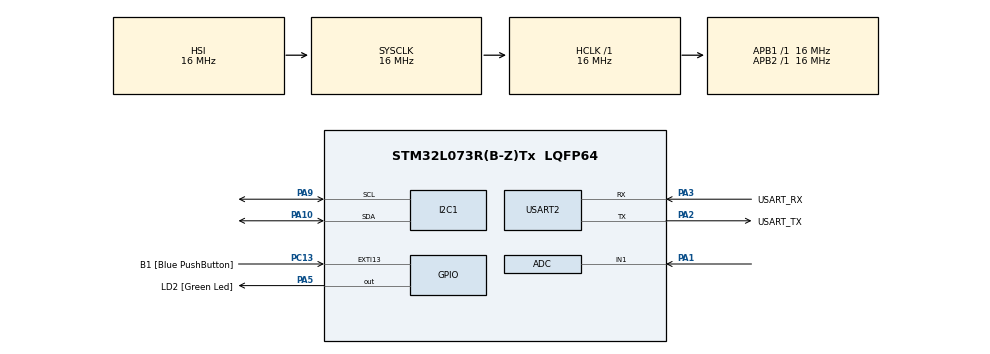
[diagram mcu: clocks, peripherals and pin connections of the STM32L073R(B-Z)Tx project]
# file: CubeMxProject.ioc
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I2C1.Timing=0x00303D5B
Mcu.Family=STM32L0
Mcu.Name=STM32L073R(B-Z)Tx
Mcu.Package=LQFP64
PA1.Mode=IN1
PA1.Signal=ADC_IN1
PA10.Mode=I2C
PA10.Signal=I2C1_SDA
PA13.GPIO_Label=TMS
PA13.Mode=Serial_Wire
PA13.Signal=SYS_SWDIO
PA14.GPIO_Label=TCK
PA14.Mode=Serial_Wire
PA14.Signal=SYS_SWCLK
PA2.GPIO_Label=USART_TX
PA2.Mode=Asynchronous
PA2.Signal=USART2_TX
PA3.GPIO_Label=USART_RX
PA3.Mode=Asynchronous
PA3.Signal=USART2_RX
PA5.GPIO_Label=LD2 [Green Led]
PA5.Signal=GPIO_Output
PA9.Mode=I2C
PA9.Signal=I2C1_SCL
PC13.GPIO_Label=B1 [Blue PushButton]
PC13.GPIO_ModeDefaultEXTI=GPIO_MODE_IT_FALLING
PC13.Signal=GPXTI13
PC14-OSC32_IN.Mode=LSE-External-Oscillator
PC14-OSC32_IN.Signal=RCC_OSC32_IN
PC15-OSC32_OUT.Mode=LSE-External-Oscillator
PC15-OSC32_OUT.Signal=RCC_OSC32_OUT
PH0-OSC_IN.GPIO_Label=MCO
PH0-OSC_IN.Mode=HSE-External-Clock-Source
PH0-OSC_IN.Signal=RCC_OSC_IN
ProjectManager.HeapSize=0x200
ProjectManager.StackSize=0x400
ProjectManager.TargetToolchain=SW4STM32
RCC.AHBFreq_Value=16000000
RCC.APB1Freq_Value=16000000
RCC.APB1TimFreq_Value=16000000
RCC.APB2Freq_Value=16000000
RCC.APB2TimFreq_Value=16000000
RCC.HCLKFreq_Value=16000000
RCC.HSE_VALUE=8000000
RCC.HSI16_VALUE=16000000
RCC.HSI48_VALUE=48000000
RCC.HSI_VALUE=16000000
RCC.MSI_VALUE=2097000
RCC.SYSCLKFreq_VALUE=16000000
RCC.SYSCLKSource=RCC_SYSCLKSOURCE_HSI
RCC.VCOOutputFreq_Value=48000000
USART2.VirtualMode-Asynchronous=VM_ASYNC
board=NUCLEO-L073RZ

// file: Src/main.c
/* USER CODE BEGIN Header */
/**
  ******************************************************************************
  * @file           : main.c
  * @brief          : Main program body
  ******************************************************************************
  * @attention
  *
  * <h2><center>&copy; Copyright (c) 2019 STMicroelectronics.
  * All rights reserved.</center></h2>
  *
  * This software component is licensed by ST under BSD 3-Clause license,
  * the "License"; You may not use this file except in compliance with the
  * License. You may obtain a copy of the License at:
  *                        opensource.org/licenses/BSD-3-Clause
  *
  ******************************************************************************
  */
/* USER CODE END Header */

#include "main.h"

/* USER CODE BEGIN Includes */
#include "u8g/u8g.h"
#include "OLED.h"
#include "Application.h"
/* USER CODE END Includes */

/* USER CODE BEGIN PTD */
extern u8g_t oled_display;
/* USER CODE END PTD */

ADC_HandleTypeDef hadc;

I2C_HandleTypeDef hi2c1;

UART_HandleTypeDef huart2;

void SystemClock_Config(void);
static void MX_GPIO_Init(void);
static void MX_USART2_UART_Init(void);
static void MX_ADC_Init(void);
static void MX_I2C1_Init(void);

int main(void)
{

  /* MCU Configuration--------------------------------------------------------*/

  /* Reset of all peripherals, Initializes the Flash interface and the Systick. */
  HAL_Init();

  /* Configure the system clock */
  SystemClock_Config();

  /* Initialize all configured peripherals */
  MX_GPIO_Init();
  MX_USART2_UART_Init();
  MX_ADC_Init();
  MX_I2C1_Init();
  /* USER CODE BEGIN 2 */
  data_struct data;

  welcome_message();
  HAL_Delay(4000);
  OLED_clrscreen();
  HAL_Delay(2000);
  OLED_Connectmsg();
  HAL_Delay(2000);
  OLED_clrscreen();
  HAL_Delay(2000);

  Calculate_voltage();

  data.volts = 125;
  data.time_left = 135;

  /* USER CODE END 2 */

  /* Infinite loop */
  while (1)
  {
	    while (1)
	    {
	        OLED_printtime(data);
	        data.volts -= 1;
	        data.time_left -= 10;
	        _delay_ms(3000);
	    }

	    while(1)
	    {
	        if( connected() ){
	            OLED_printtime(data);
	        } else {
	            OLED_Connectmsg();
	        }
	        _delay_ms(100);
	    }

  }
}

void SystemClock_Config(void)
{
  RCC_OscInitTypeDef RCC_OscInitStruct = {0};
  RCC_ClkInitTypeDef RCC_ClkInitStruct = {0};
  RCC_PeriphCLKInitTypeDef PeriphClkInit = {0};

  /** Configure the main internal regulator output voltage
  */
  __HAL_PWR_VOLTAGESCALING_CONFIG(PWR_REGULATOR_VOLTAGE_SCALE1);
  /** Initializes the CPU, AHB and APB busses clocks
  */
  RCC_OscInitStruct.OscillatorType = RCC_OSCILLATORTYPE_HSI;
  RCC_OscInitStruct.HSIState = RCC_HSI_ON;
  RCC_OscInitStruct.HSICalibrationValue = RCC_HSICALIBRATION_DEFAULT;
  RCC_OscInitStruct.PLL.PLLState = RCC_PLL_NONE;
  if (HAL_RCC_OscConfig(&RCC_OscInitStruct) != HAL_OK)
  {
    Error_Handler();
  }
  /** Initializes the CPU, AHB and APB busses clocks
  */
  RCC_ClkInitStruct.ClockType = RCC_CLOCKTYPE_HCLK|RCC_CLOCKTYPE_SYSCLK
                              |RCC_CLOCKTYPE_PCLK1|RCC_CLOCKTYPE_PCLK2;
  RCC_ClkInitStruct.SYSCLKSource = RCC_SYSCLKSOURCE_HSI;
  RCC_ClkInitStruct.AHBCLKDivider = RCC_SYSCLK_DIV1;
  RCC_ClkInitStruct.APB1CLKDivider = RCC_HCLK_DIV1;
  RCC_ClkInitStruct.APB2CLKDivider = RCC_HCLK_DIV1;

  if (HAL_RCC_ClockConfig(&RCC_ClkInitStruct, FLASH_LATENCY_0) != HAL_OK)
  {
    Error_Handler();
  }
  PeriphClkInit.PeriphClockSelection = RCC_PERIPHCLK_USART2|RCC_PERIPHCLK_I2C1;
  PeriphClkInit.Usart2ClockSelection = RCC_USART2CLKSOURCE_PCLK1;
  PeriphClkInit.I2c1ClockSelection = RCC_I2C1CLKSOURCE_PCLK1;
  if (HAL_RCCEx_PeriphCLKConfig(&PeriphClkInit) != HAL_OK)
  {
    Error_Handler();
  }
}

static void MX_ADC_Init(void)
{

  ADC_ChannelConfTypeDef sConfig = {0};

  /** Configure the global features of the ADC (Clock, Resolution, Data Alignment and number of conversion)
  */
  hadc.Instance = ADC1;
  hadc.Init.OversamplingMode = DISABLE;
  hadc.Init.ClockPrescaler = ADC_CLOCK_SYNC_PCLK_DIV1;
  hadc.Init.Resolution = ADC_RESOLUTION_12B;
  hadc.Init.SamplingTime = ADC_SAMPLETIME_1CYCLE_5;
  hadc.Init.ScanConvMode = ADC_SCAN_DIRECTION_FORWARD;
  hadc.Init.DataAlign = ADC_DATAALIGN_RIGHT;
  hadc.Init.ContinuousConvMode = DISABLE;
  hadc.Init.DiscontinuousConvMode = DISABLE;
  hadc.Init.ExternalTrigConvEdge = ADC_EXTERNALTRIGCONVEDGE_NONE;
  hadc.Init.ExternalTrigConv = ADC_SOFTWARE_START;
  hadc.Init.DMAContinuousRequests = DISABLE;
  hadc.Init.EOCSelection = ADC_EOC_SINGLE_CONV;
  hadc.Init.Overrun = ADC_OVR_DATA_PRESERVED;
  hadc.Init.LowPowerAutoWait = DISABLE;
  hadc.Init.LowPowerFrequencyMode = DISABLE;
  hadc.Init.LowPowerAutoPowerOff = DISABLE;
  if (HAL_ADC_Init(&hadc) != HAL_OK)
  {
    Error_Handler();
  }
  /** Configure for the selected ADC regular channel to be converted.
  */
  sConfig.Channel = ADC_CHANNEL_1;
  sConfig.Rank = ADC_RANK_CHANNEL_NUMBER;
  if (HAL_ADC_ConfigChannel(&hadc, &sConfig) != HAL_OK)
  {
    Error_Handler();
  }

}

static void MX_I2C1_Init(void)
{

  hi2c1.Instance = I2C1;
  hi2c1.Init.Timing = 0x00303D5B;
  hi2c1.Init.OwnAddress1 = 0;
  hi2c1.Init.AddressingMode = I2C_ADDRESSINGMODE_7BIT;
  hi2c1.Init.DualAddressMode = I2C_DUALADDRESS_DISABLE;
  hi2c1.Init.OwnAddress2 = 0;
  hi2c1.Init.OwnAddress2Masks = I2C_OA2_NOMASK;
  hi2c1.Init.GeneralCallMode = I2C_GENERALCALL_DISABLE;
  hi2c1.Init.NoStretchMode = I2C_NOSTRETCH_DISABLE;
  if (HAL_I2C_Init(&hi2c1) != HAL_OK)
  {
    Error_Handler();
  }
  /** Configure Analogue filter
  */
  if (HAL_I2CEx_ConfigAnalogFilter(&hi2c1, I2C_ANALOGFILTER_ENABLE) != HAL_OK)
  {
    Error_Handler();
  }
  /** Configure Digital filter
  */
  if (HAL_I2CEx_ConfigDigitalFilter(&hi2c1, 0) != HAL_OK)
  {
    Error_Handler();
  }

}

static void MX_USART2_UART_Init(void)
{

  huart2.Instance = USART2;
  huart2.Init.BaudRate = 115200;
  huart2.Init.WordLength = UART_WORDLENGTH_8B;
  huart2.Init.StopBits = UART_STOPBITS_1;
  huart2.Init.Parity = UART_PARITY_NONE;
  huart2.Init.Mode = UART_MODE_TX_RX;
  huart2.Init.HwFlowCtl = UART_HWCONTROL_NONE;
  huart2.Init.OverSampling = UART_OVERSAMPLING_16;
  huart2.Init.OneBitSampling = UART_ONE_BIT_SAMPLE_DISABLE;
  huart2.AdvancedInit.AdvFeatureInit = UART_ADVFEATURE_NO_INIT;
  if (HAL_UART_Init(&huart2) != HAL_OK)
  {
    Error_Handler();
  }

}

static void MX_GPIO_Init(void)
{
  GPIO_InitTypeDef GPIO_InitStruct = {0};

  /* GPIO Ports Clock Enable */
  __HAL_RCC_GPIOC_CLK_ENABLE();
  __HAL_RCC_GPIOH_CLK_ENABLE();
  __HAL_RCC_GPIOA_CLK_ENABLE();

  /*Configure GPIO pin Output Level */
  HAL_GPIO_WritePin(LD2_GPIO_Port, LD2_Pin, GPIO_PIN_RESET);

  /*Configure GPIO pin : B1_Pin */
  GPIO_InitStruct.Pin = B1_Pin;
  GPIO_InitStruct.Mode = GPIO_MODE_IT_FALLING;
  GPIO_InitStruct.Pull = GPIO_NOPULL;
  HAL_GPIO_Init(B1_GPIO_Port, &GPIO_InitStruct);

  /*Configure GPIO pin : LD2_Pin */
  GPIO_InitStruct.Pin = LD2_Pin;
  GPIO_InitStruct.Mode = GPIO_MODE_OUTPUT_PP;
  GPIO_InitStruct.Pull = GPIO_NOPULL;
  GPIO_InitStruct.Speed = GPIO_SPEED_FREQ_LOW;
  HAL_GPIO_Init(LD2_GPIO_Port, &GPIO_InitStruct);

}

void Error_Handler(void)
{
}

/************************ (C) COPYRIGHT STMicroelectronics *****END OF FILE****/
